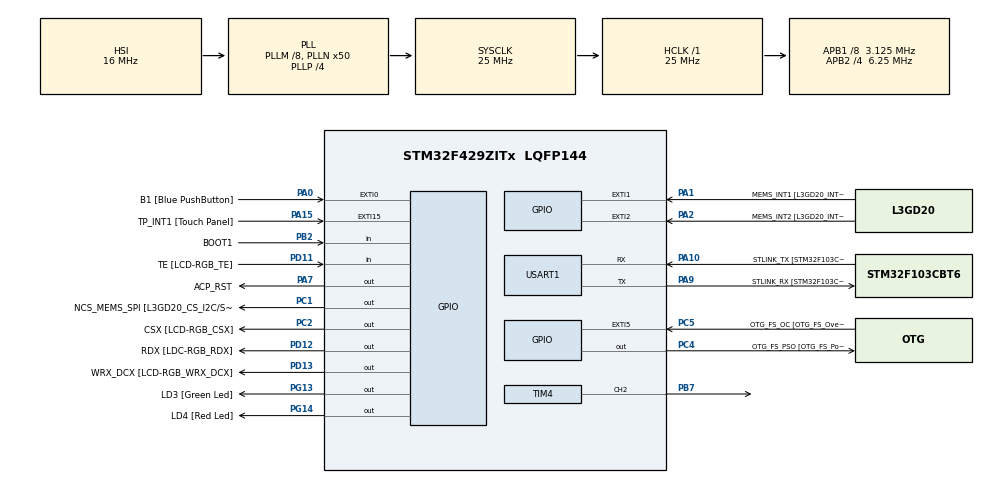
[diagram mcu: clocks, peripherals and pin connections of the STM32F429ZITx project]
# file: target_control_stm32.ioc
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FREERTOS.Queues01=targetCommandQueue,4,TargetState,0,Dynamic,NULL,NULL
FREERTOS.Tasks01=CommRxTask,24,128,StartCommRxTask,Default,NULL,Dynamic,NULL,NULL;ControlTask,32,128,StartControlTask,Default,NULL,Dynamic,NULL,NULL
Mcu.Family=STM32F4
Mcu.Name=STM32F429ZITx
Mcu.Package=LQFP144
NVIC.PriorityGroup=NVIC_PRIORITYGROUP_4
NVIC.TIM6_DAC_IRQn=true\:15\:0\:false\:false\:true\:false\:false\:true\:true
NVIC.TimeBase=TIM6_DAC_IRQn
NVIC.TimeBaseIP=TIM6
PA0/WKUP.GPIO_Label=B1 [Blue PushButton]
PA0/WKUP.GPIO_ModeDefaultEXTI=GPIO_MODE_EVT_RISING
PA0/WKUP.GPIO_PuPd=GPIO_NOPULL
PA0/WKUP.Signal=GPXTI0
PA1.GPIO_Label=MEMS_INT1 [L3GD20_INT1]
PA1.GPIO_ModeDefaultEXTI=GPIO_MODE_EVT_RISING
PA1.GPIO_PuPd=GPIO_NOPULL
PA1.Signal=GPXTI1
PA10.GPIO_Label=STLINK_TX [STM32F103CBT6_PA2]
PA10.Mode=Asynchronous
PA10.Signal=USART1_RX
PA11.GPIO_Label=R4
PA11.GPIO_Mode=GPIO_MODE_AF_PP
PA11.GPIO_PuPd=GPIO_NOPULL
PA11.GPIO_Speed=GPIO_SPEED_FREQ_LOW
PA11.Signal=LTDC_R4
PA12.GPIO_Label=R5
PA12.GPIO_Mode=GPIO_MODE_AF_PP
PA12.GPIO_PuPd=GPIO_NOPULL
PA12.GPIO_Speed=GPIO_SPEED_FREQ_LOW
PA12.Signal=LTDC_R5
PA13.GPIO_Label=SWDIO
PA13.Signal=SYS_JTMS-SWDIO
PA14.GPIO_Label=SWCLK
PA14.Signal=SYS_JTCK-SWCLK
PA15.GPIO_Label=TP_INT1 [Touch Panel]
PA15.GPIO_ModeDefaultEXTI=GPIO_MODE_EVT_RISING
PA15.GPIO_PuPd=GPIO_NOPULL
PA15.Signal=GPXTI15
PA2.GPIO_Label=MEMS_INT2 [L3GD20_INT2]
PA2.GPIO_ModeDefaultEXTI=GPIO_MODE_EVT_RISING
PA2.GPIO_PuPd=GPIO_NOPULL
PA2.Signal=GPXTI2
PA3.GPIO_Label=B5
PA3.GPIO_Mode=GPIO_MODE_AF_PP
PA3.GPIO_PuPd=GPIO_NOPULL
PA3.GPIO_Speed=GPIO_SPEED_FREQ_LOW
PA3.Signal=LTDC_B5
PA4.GPIO_Label=VSYNC
PA4.GPIO_Mode=GPIO_MODE_AF_PP
PA4.GPIO_PuPd=GPIO_NOPULL
PA4.GPIO_Speed=GPIO_SPEED_FREQ_LOW
PA4.Signal=LTDC_VSYNC
PA6.GPIO_Label=G2
PA6.GPIO_Mode=GPIO_MODE_AF_PP
PA6.GPIO_PuPd=GPIO_NOPULL
PA6.GPIO_Speed=GPIO_SPEED_FREQ_LOW
PA6.Signal=LTDC_G2
PA7.GPIO_Label=ACP_RST
PA7.GPIO_Mode=GPIO_MODE_OUTPUT_PP
PA7.GPIO_PuPd=GPIO_NOPULL
PA7.GPIO_Speed=GPIO_SPEED_FREQ_LOW
PA7.Signal=GPIO_Output
PA8.GPIO_Label=I2C3_SCL [ACP/RF_SCL]
PA8.GPIO_Mode=GPIO_MODE_AF_OD
PA8.GPIO_PuPd=GPIO_NOPULL
PA8.GPIO_Speed=GPIO_SPEED_FREQ_LOW
PA8.Signal=I2C3_SCL
PA9.GPIO_Label=STLINK_RX [STM32F103CBT6_PA3]
PA9.Mode=Asynchronous
PA9.Signal=USART1_TX
PB0.GPIO_Label=R3
PB0.GPIO_Mode=GPIO_MODE_AF_PP
PB0.GPIO_PuPd=GPIO_NOPULL
PB0.GPIO_Speed=GPIO_SPEED_FREQ_LOW
PB0.Signal=LTDC_R3
PB1.GPIO_Label=R6
PB1.GPIO_Mode=GPIO_MODE_AF_PP
PB1.GPIO_PuPd=GPIO_NOPULL
PB1.GPIO_Speed=GPIO_SPEED_FREQ_LOW
PB1.Signal=LTDC_R6
PB10.GPIO_Label=G4
PB10.GPIO_Mode=GPIO_MODE_AF_PP
PB10.GPIO_PuPd=GPIO_NOPULL
PB10.GPIO_Speed=GPIO_SPEED_FREQ_LOW
PB10.Signal=LTDC_G4
PB11.GPIO_Label=G5
PB11.GPIO_Mode=GPIO_MODE_AF_PP
PB11.GPIO_PuPd=GPIO_NOPULL
PB11.GPIO_Speed=GPIO_SPEED_FREQ_LOW
PB11.Signal=LTDC_G5
PB12.GPIO_Label=OTG_HS_ID
PB12.GPIO_Mode=GPIO_MODE_AF_PP
PB12.GPIO_PuPd=GPIO_NOPULL
PB12.GPIO_Speed=GPIO_SPEED_FREQ_LOW
PB12.Signal=USB_OTG_HS_ID
PB13.GPIO_Label=VBUS_HS
PB13.GPIO_Mode=GPIO_MODE_INPUT
PB13.GPIO_PuPd=GPIO_NOPULL
PB13.Signal=USB_OTG_HS_VBUS
PB14.GPIO_Label=OTG_HS_DM
PB14.GPIO_Mode=GPIO_MODE_AF_PP
PB14.GPIO_PuPd=GPIO_NOPULL
PB14.GPIO_Speed=GPIO_SPEED_FREQ_LOW
PB14.Signal=USB_OTG_HS_DM
PB15.GPIO_Label=OTG_HS_DP
PB15.GPIO_Mode=GPIO_MODE_AF_PP
PB15.GPIO_PuPd=GPIO_NOPULL
PB15.GPIO_Speed=GPIO_SPEED_FREQ_LOW
PB15.Signal=USB_OTG_HS_DP
PB2/BOOT1.GPIO_Label=BOOT1
PB2/BOOT1.GPIO_Mode=GPIO_MODE_INPUT
PB2/BOOT1.GPIO_PuPd=GPIO_NOPULL
PB2/BOOT1.Signal=GPIO_Input
PB5.GPIO_Label=SDCKE1
PB5.GPIO_Mode=GPIO_MODE_AF_PP
PB5.GPIO_PuPd=GPIO_NOPULL
PB5.GPIO_Speed=GPIO_SPEED_FREQ_VERY_HIGH
PB5.Signal=FMC_SDCKE1
PB6.GPIO_Label=SDNE1 [SDRAM_CS]
PB6.GPIO_Mode=GPIO_MODE_AF_PP
PB6.GPIO_PuPd=GPIO_NOPULL
PB6.GPIO_Speed=GPIO_SPEED_FREQ_VERY_HIGH
PB6.Signal=FMC_SDNE1
PB7.Signal=S_TIM4_CH2
PB8.GPIO_Label=B6
PB8.GPIO_Mode=GPIO_MODE_AF_PP
PB8.GPIO_PuPd=GPIO_NOPULL
PB8.GPIO_Speed=GPIO_SPEED_FREQ_LOW
PB8.Signal=LTDC_B6
PB9.GPIO_Label=B7
PB9.GPIO_Mode=GPIO_MODE_AF_PP
PB9.GPIO_PuPd=GPIO_NOPULL
PB9.GPIO_Speed=GPIO_SPEED_FREQ_LOW
PB9.Signal=LTDC_B7
PC0.GPIO_Label=SDNWE
PC0.GPIO_Mode=GPIO_MODE_AF_PP
PC0.GPIO_PuPd=GPIO_NOPULL
PC0.GPIO_Speed=GPIO_SPEED_FREQ_VERY_HIGH
PC0.Signal=FMC_SDNWE
PC1.GPIO_Label=NCS_MEMS_SPI [L3GD20_CS_I2C/SPI]
PC1.GPIO_Mode=GPIO_MODE_OUTPUT_PP
PC1.GPIO_PuPd=GPIO_NOPULL
PC1.GPIO_Speed=GPIO_SPEED_FREQ_LOW
PC1.Signal=GPIO_Output
PC10.GPIO_Label=R2
PC10.GPIO_Mode=GPIO_MODE_AF_PP
PC10.GPIO_PuPd=GPIO_NOPULL
PC10.GPIO_Speed=GPIO_SPEED_FREQ_LOW
PC10.Signal=LTDC_R2
PC14/OSC32_IN.GPIO_Label=PC14-OSC32_IN
PC14/OSC32_IN.Signal=RCC_OSC32_IN
PC15/OSC32_OUT.GPIO_Label=PC15-OSC32_OUT
PC15/OSC32_OUT.Signal=RCC_OSC32_OUT
PC2.GPIO_Label=CSX [LCD-RGB_CSX]
PC2.GPIO_Mode=GPIO_MODE_OUTPUT_PP
PC2.GPIO_PuPd=GPIO_NOPULL
PC2.GPIO_Speed=GPIO_SPEED_FREQ_LOW
PC2.Signal=GPIO_Output
PC4.GPIO_Label=OTG_FS_PSO [OTG_FS_PowerSwitchOn]
PC4.GPIO_Mode=GPIO_MODE_OUTPUT_PP
PC4.GPIO_PuPd=GPIO_NOPULL
PC4.GPIO_Speed=GPIO_SPEED_FREQ_LOW
PC4.Signal=GPIO_Output
PC5.GPIO_Label=OTG_FS_OC [OTG_FS_OverCurrent]
PC5.GPIO_ModeDefaultEXTI=GPIO_MODE_EVT_RISING
PC5.Signal=GPXTI5
PC6.GPIO_Label=HSYNC
PC6.GPIO_Mode=GPIO_MODE_AF_PP
PC6.GPIO_PuPd=GPIO_NOPULL
PC6.GPIO_Speed=GPIO_SPEED_FREQ_LOW
PC6.Signal=LTDC_HSYNC
PC7.GPIO_Label=G6
PC7.GPIO_Mode=GPIO_MODE_AF_PP
PC7.GPIO_PuPd=GPIO_NOPULL
PC7.GPIO_Speed=GPIO_SPEED_FREQ_LOW
PC7.Signal=LTDC_G6
PC9.GPIO_Label=I2C3_SDA [ACP/RF_SDA]
PC9.GPIO_Mode=GPIO_MODE_AF_OD
PC9.GPIO_PuPd=GPIO_NOPULL
PC9.GPIO_Speed=GPIO_SPEED_FREQ_LOW
PC9.Signal=I2C3_SDA
PD0.GPIO_Label=D2
PD0.GPIO_Mode=GPIO_MODE_AF_PP
PD0.GPIO_PuPd=GPIO_NOPULL
PD0.GPIO_Speed=GPIO_SPEED_FREQ_VERY_HIGH
PD0.Signal=FMC_D2_DA2
PD1.GPIO_Label=D3
PD1.GPIO_Mode=GPIO_MODE_AF_PP
PD1.GPIO_PuPd=GPIO_NOPULL
PD1.GPIO_Speed=GPIO_SPEED_FREQ_VERY_HIGH
PD1.Signal=FMC_D3_DA3
PD10.GPIO_Label=D15
PD10.GPIO_Mode=GPIO_MODE_AF_PP
PD10.GPIO_PuPd=GPIO_NOPULL
PD10.GPIO_Speed=GPIO_SPEED_FREQ_VERY_HIGH
PD10.Signal=FMC_D15_DA15
PD11.GPIO_Label=TE [LCD-RGB_TE]
PD11.GPIO_Mode=GPIO_MODE_INPUT
PD11.GPIO_PuPd=GPIO_NOPULL
PD11.Signal=GPIO_Input
PD12.GPIO_Label=RDX [LDC-RGB_RDX]
PD12.GPIO_Mode=GPIO_MODE_OUTPUT_PP
PD12.GPIO_PuPd=GPIO_NOPULL
PD12.GPIO_Speed=GPIO_SPEED_FREQ_LOW
PD12.Signal=GPIO_Output
PD13.GPIO_Label=WRX_DCX [LCD-RGB_WRX_DCX]
PD13.GPIO_Mode=GPIO_MODE_OUTPUT_PP
PD13.GPIO_PuPd=GPIO_NOPULL
PD13.GPIO_Speed=GPIO_SPEED_FREQ_LOW
PD13.Signal=GPIO_Output
PD14.GPIO_Label=D0
PD14.GPIO_Mode=GPIO_MODE_AF_PP
PD14.GPIO_PuPd=GPIO_NOPULL
PD14.GPIO_Speed=GPIO_SPEED_FREQ_VERY_HIGH
PD14.Signal=FMC_D0_DA0
PD15.GPIO_Label=D1
PD15.GPIO_Mode=GPIO_MODE_AF_PP
PD15.GPIO_PuPd=GPIO_NOPULL
PD15.GPIO_Speed=GPIO_SPEED_FREQ_VERY_HIGH
PD15.Signal=FMC_D1_DA1
PD3.GPIO_Label=G7
PD3.GPIO_Mode=GPIO_MODE_AF_PP
PD3.GPIO_PuPd=GPIO_NOPULL
PD3.GPIO_Speed=GPIO_SPEED_FREQ_LOW
PD3.Signal=LTDC_G7
PD6.GPIO_Label=B2
PD6.GPIO_Mode=GPIO_MODE_AF_PP
PD6.GPIO_PuPd=GPIO_NOPULL
PD6.GPIO_Speed=GPIO_SPEED_FREQ_LOW
PD6.Signal=LTDC_B2
PD8.GPIO_Label=D13
PD8.GPIO_Mode=GPIO_MODE_AF_PP
PD8.GPIO_PuPd=GPIO_NOPULL
PD8.GPIO_Speed=GPIO_SPEED_FREQ_VERY_HIGH
PD8.Signal=FMC_D13_DA13
PD9.GPIO_Label=D14
PD9.GPIO_Mode=GPIO_MODE_AF_PP
PD9.GPIO_PuPd=GPIO_NOPULL
PD9.GPIO_Speed=GPIO_SPEED_FREQ_VERY_HIGH
PD9.Signal=FMC_D14_DA14
PE0.GPIO_Label=NBL0 [SDRAM_LDQM]
PE0.GPIO_Mode=GPIO_MODE_AF_PP
PE0.GPIO_PuPd=GPIO_NOPULL
PE0.GPIO_Speed=GPIO_SPEED_FREQ_VERY_HIGH
PE0.Signal=FMC_NBL0
PE1.GPIO_Label=NBL1 [SDRAM_UDQM]
PE1.GPIO_Mode=GPIO_MODE_AF_PP
PE1.GPIO_PuPd=GPIO_NOPULL
PE1.GPIO_Speed=GPIO_SPEED_FREQ_VERY_HIGH
PE1.Signal=FMC_NBL1
PE10.GPIO_Label=D7
PE10.GPIO_Mode=GPIO_MODE_AF_PP
PE10.GPIO_PuPd=GPIO_NOPULL
PE10.GPIO_Speed=GPIO_SPEED_FREQ_VERY_HIGH
PE10.Signal=FMC_D7_DA7
PE11.GPIO_Label=D8
PE11.GPIO_Mode=GPIO_MODE_AF_PP
PE11.GPIO_PuPd=GPIO_NOPULL
PE11.GPIO_Speed=GPIO_SPEED_FREQ_VERY_HIGH
PE11.Signal=FMC_D8_DA8
PE12.GPIO_Label=D9
PE12.GPIO_Mode=GPIO_MODE_AF_PP
PE12.GPIO_PuPd=GPIO_NOPULL
PE12.GPIO_Speed=GPIO_SPEED_FREQ_VERY_HIGH
PE12.Signal=FMC_D9_DA9
PE13.GPIO_Label=D10
PE13.GPIO_Mode=GPIO_MODE_AF_PP
PE13.GPIO_PuPd=GPIO_NOPULL
PE13.GPIO_Speed=GPIO_SPEED_FREQ_VERY_HIGH
PE13.Signal=FMC_D10_DA10
PE14.GPIO_Label=D11
PE14.GPIO_Mode=GPIO_MODE_AF_PP
PE14.GPIO_PuPd=GPIO_NOPULL
PE14.GPIO_Speed=GPIO_SPEED_FREQ_VERY_HIGH
PE14.Signal=FMC_D11_DA11
PE15.GPIO_Label=D12
PE15.GPIO_Mode=GPIO_MODE_AF_PP
PE15.GPIO_PuPd=GPIO_NOPULL
PE15.GPIO_Speed=GPIO_SPEED_FREQ_VERY_HIGH
PE15.Signal=FMC_D12_DA12
PE7.GPIO_Label=D4
PE7.GPIO_Mode=GPIO_MODE_AF_PP
PE7.GPIO_PuPd=GPIO_NOPULL
PE7.GPIO_Speed=GPIO_SPEED_FREQ_VERY_HIGH
PE7.Signal=FMC_D4_DA4
PE8.GPIO_Label=D5
PE8.GPIO_Mode=GPIO_MODE_AF_PP
PE8.GPIO_PuPd=GPIO_NOPULL
PE8.GPIO_Speed=GPIO_SPEED_FREQ_VERY_HIGH
PE8.Signal=FMC_D5_DA5
PE9.GPIO_Label=D6
PE9.GPIO_Mode=GPIO_MODE_AF_PP
PE9.GPIO_PuPd=GPIO_NOPULL
PE9.GPIO_Speed=GPIO_SPEED_FREQ_VERY_HIGH
PE9.Signal=FMC_D6_DA6
PF0.GPIO_Label=A0
PF0.GPIO_Mode=GPIO_MODE_AF_PP
PF0.GPIO_PuPd=GPIO_NOPULL
PF0.GPIO_Speed=GPIO_SPEED_FREQ_VERY_HIGH
PF0.Signal=FMC_A0
PF1.GPIO_Label=A1
PF1.GPIO_Mode=GPIO_MODE_AF_PP
PF1.GPIO_PuPd=GPIO_NOPULL
PF1.GPIO_Speed=GPIO_SPEED_FREQ_VERY_HIGH
PF1.Signal=FMC_A1
PF10.GPIO_Label=ENABLE [LCD-RGB_ENABLE]
PF10.GPIO_Mode=GPIO_MODE_AF_PP
PF10.GPIO_PuPd=GPIO_NOPULL
PF10.GPIO_Speed=GPIO_SPEED_FREQ_LOW
PF10.Signal=LTDC_DE
PF11.GPIO_Label=SDNRAS
PF11.GPIO_Mode=GPIO_MODE_AF_PP
PF11.GPIO_PuPd=GPIO_NOPULL
PF11.GPIO_Speed=GPIO_SPEED_FREQ_VERY_HIGH
PF11.Signal=FMC_SDNRAS
PF12.GPIO_Label=A6
PF12.GPIO_Mode=GPIO_MODE_AF_PP
PF12.GPIO_PuPd=GPIO_NOPULL
PF12.GPIO_Speed=GPIO_SPEED_FREQ_VERY_HIGH
PF12.Signal=FMC_A6
PF13.GPIO_Label=A7
PF13.GPIO_Mode=GPIO_MODE_AF_PP
PF13.GPIO_PuPd=GPIO_NOPULL
PF13.GPIO_Speed=GPIO_SPEED_FREQ_VERY_HIGH
PF13.Signal=FMC_A7
PF14.GPIO_Label=A8
PF14.GPIO_Mode=GPIO_MODE_AF_PP
PF14.GPIO_PuPd=GPIO_NOPULL
PF14.GPIO_Speed=GPIO_SPEED_FREQ_VERY_HIGH
PF14.Signal=FMC_A8
PF15.GPIO_Label=A9
PF15.GPIO_Mode=GPIO_MODE_AF_PP
PF15.GPIO_PuPd=GPIO_NOPULL
PF15.GPIO_Speed=GPIO_SPEED_FREQ_VERY_HIGH
PF15.Signal=FMC_A9
PF2.GPIO_Label=A2
PF2.GPIO_Mode=GPIO_MODE_AF_PP
PF2.GPIO_PuPd=GPIO_NOPULL
PF2.GPIO_Speed=GPIO_SPEED_FREQ_VERY_HIGH
PF2.Signal=FMC_A2
PF3.GPIO_Label=A3
PF3.GPIO_Mode=GPIO_MODE_AF_PP
PF3.GPIO_PuPd=GPIO_NOPULL
PF3.GPIO_Speed=GPIO_SPEED_FREQ_VERY_HIGH
PF3.Signal=FMC_A3
PF4.GPIO_Label=A4
PF4.GPIO_Mode=GPIO_MODE_AF_PP
PF4.GPIO_PuPd=GPIO_NOPULL
PF4.GPIO_Speed=GPIO_SPEED_FREQ_VERY_HIGH
PF4.Signal=FMC_A4
PF5.GPIO_Label=A5
PF5.GPIO_Mode=GPIO_MODE_AF_PP
PF5.GPIO_PuPd=GPIO_NOPULL
PF5.GPIO_Speed=GPIO_SPEED_FREQ_VERY_HIGH
PF5.Signal=FMC_A5
PF7.GPIO_Label=SPI5_SCK [L3GD20_SCL/SPC]
PF7.GPIO_Mode=GPIO_MODE_AF_PP
PF7.GPIO_PuPd=GPIO_NOPULL
PF7.GPIO_Speed=GPIO_SPEED_FREQ_LOW
PF7.Signal=SPI5_SCK
PF8.GPIO_Label=SPI5_MISO [L3GD20_SDO]
PF8.GPIO_Mode=GPIO_MODE_AF_PP
PF8.GPIO_PuPd=GPIO_NOPULL
PF8.GPIO_Speed=GPIO_SPEED_FREQ_LOW
PF8.Signal=SPI5_MISO
PF9.GPIO_Label=SPI5_MOSI [L3GD20_SDA/SDI/SDO]
PF9.GPIO_Mode=GPIO_MODE_AF_PP
PF9.GPIO_PuPd=GPIO_NOPULL
PF9.GPIO_Speed=GPIO_SPEED_FREQ_LOW
PF9.Signal=SPI5_MOSI
PG0.GPIO_Label=A10
PG0.GPIO_Mode=GPIO_MODE_AF_PP
PG0.GPIO_PuPd=GPIO_NOPULL
PG0.GPIO_Speed=GPIO_SPEED_FREQ_VERY_HIGH
PG0.Signal=FMC_A10
PG1.GPIO_Label=A11
PG1.GPIO_Mode=GPIO_MODE_AF_PP
PG1.GPIO_PuPd=GPIO_NOPULL
PG1.GPIO_Speed=GPIO_SPEED_FREQ_VERY_HIGH
PG1.Signal=FMC_A11
PG10.GPIO_Label=G3
PG10.GPIO_Mode=GPIO_MODE_AF_PP
PG10.GPIO_PuPd=GPIO_NOPULL
PG10.GPIO_Speed=GPIO_SPEED_FREQ_LOW
PG10.Signal=LTDC_G3
PG11.GPIO_Label=B3
PG11.GPIO_Mode=GPIO_MODE_AF_PP
PG11.GPIO_PuPd=GPIO_NOPULL
PG11.GPIO_Speed=GPIO_SPEED_FREQ_LOW
PG11.Signal=LTDC_B3
PG12.GPIO_Label=B4
PG12.GPIO_Mode=GPIO_MODE_AF_PP
PG12.GPIO_PuPd=GPIO_NOPULL
PG12.GPIO_Speed=GPIO_SPEED_FREQ_LOW
PG12.Signal=LTDC_B4
PG13.GPIO_Label=LD3 [Green Led]
PG13.GPIO_Mode=GPIO_MODE_OUTPUT_PP
PG13.GPIO_PuPd=GPIO_NOPULL
PG13.GPIO_Speed=GPIO_SPEED_FREQ_LOW
PG13.Signal=GPIO_Output
PG14.GPIO_Label=LD4 [Red Led]
PG14.GPIO_Mode=GPIO_MODE_OUTPUT_PP
PG14.GPIO_PuPd=GPIO_NOPULL
PG14.GPIO_Speed=GPIO_SPEED_FREQ_LOW
PG14.Signal=GPIO_Output
PG15.GPIO_Label=SDNCAS
PG15.GPIO_Mode=GPIO_MODE_AF_PP
PG15.GPIO_PuPd=GPIO_NOPULL
PG15.GPIO_Speed=GPIO_SPEED_FREQ_VERY_HIGH
PG15.Signal=FMC_SDNCAS
PG4.GPIO_Label=BA0
PG4.GPIO_Mode=GPIO_MODE_AF_PP
PG4.GPIO_PuPd=GPIO_NOPULL
PG4.GPIO_Speed=GPIO_SPEED_FREQ_VERY_HIGH
PG4.Signal=FMC_A14_BA0
PG5.GPIO_Label=BA1
PG5.GPIO_Mode=GPIO_MODE_AF_PP
PG5.GPIO_PuPd=GPIO_NOPULL
PG5.GPIO_Speed=GPIO_SPEED_FREQ_VERY_HIGH
PG5.Signal=FMC_A15_BA1
PG6.GPIO_Label=R7
PG6.GPIO_Mode=GPIO_MODE_AF_PP
PG6.GPIO_PuPd=GPIO_NOPULL
PG6.GPIO_Speed=GPIO_SPEED_FREQ_LOW
PG6.Signal=LTDC_R7
PG7.GPIO_Label=DOTCLK [LCT-RGB_DOTCLK]
PG7.GPIO_Mode=GPIO_MODE_AF_PP
PG7.GPIO_PuPd=GPIO_NOPULL
PG7.GPIO_Speed=GPIO_SPEED_FREQ_LOW
PG7.Signal=LTDC_CLK
PG8.GPIO_Label=SDCLK
PG8.GPIO_Mode=GPIO_MODE_AF_PP
PG8.GPIO_PuPd=GPIO_NOPULL
PG8.GPIO_Speed=GPIO_SPEED_FREQ_VERY_HIGH
PG8.Signal=FMC_SDCLK
PH0/OSC_IN.GPIO_Label=PH0-OSC_IN
PH0/OSC_IN.Signal=RCC_OSC_IN
PH1/OSC_OUT.GPIO_Label=PH1-OSC_OUT
PH1/OSC_OUT.Signal=RCC_OSC_OUT
ProjectManager.HeapSize=0x200
ProjectManager.StackSize=0x400
ProjectManager.TargetToolchain=STM32CubeIDE
RCC.48MHZClocksFreq_Value=14285714.285714285
RCC.AHBFreq_Value=25000000
RCC.APB1CLKDivider=RCC_HCLK_DIV8
RCC.APB1Freq_Value=3125000
RCC.APB1TimFreq_Value=6250000
RCC.APB2CLKDivider=RCC_HCLK_DIV4
RCC.APB2Freq_Value=6250000
RCC.APB2TimFreq_Value=12500000
RCC.CortexFreq_Value=25000000
RCC.HCLKFreq_Value=25000000
RCC.HSE_VALUE=8000000
RCC.HSI_VALUE=16000000
RCC.LSE_VALUE=32768
RCC.PLLM=8
RCC.PLLN=50
RCC.PLLP=RCC_PLLP_DIV4
RCC.PLLQ=7
RCC.SYSCLKFreq_VALUE=25000000
RCC.SYSCLKSource=RCC_SYSCLKSOURCE_PLLCLK
RCC.VCOOutputFreq_Value=100000000
SH.FMC_A0.0=FMC_A0
SH.FMC_A1.0=FMC_A1
SH.FMC_A10.0=FMC_A10
SH.FMC_A11.0=FMC_A11
SH.FMC_A14_BA0.0=FMC_BA0
SH.FMC_A15_BA1.0=FMC_BA1
SH.FMC_A2.0=FMC_A2
SH.FMC_A3.0=FMC_A3
SH.FMC_A4.0=FMC_A4
SH.FMC_A5.0=FMC_A5
SH.FMC_A6.0=FMC_A6
SH.FMC_A7.0=FMC_A7
SH.FMC_A8.0=FMC_A8
SH.FMC_A9.0=FMC_A9
SH.FMC_D0_DA0.0=FMC_D0
SH.FMC_D10_DA10.0=FMC_D10
SH.FMC_D11_DA11.0=FMC_D11
SH.FMC_D12_DA12.0=FMC_D12
SH.FMC_D13_DA13.0=FMC_D13
SH.FMC_D14_DA14.0=FMC_D14
SH.FMC_D15_DA15.0=FMC_D15
SH.FMC_D1_DA1.0=FMC_D1
SH.FMC_D2_DA2.0=FMC_D2
SH.FMC_D3_DA3.0=FMC_D3
SH.FMC_D4_DA4.0=FMC_D4
SH.FMC_D5_DA5.0=FMC_D5
SH.FMC_D6_DA6.0=FMC_D6
SH.FMC_D7_DA7.0=FMC_D7
SH.FMC_D8_DA8.0=FMC_D8
SH.FMC_D9_DA9.0=FMC_D9
SH.FMC_NBL0.0=FMC_NBL0
SH.FMC_NBL1.0=FMC_NBL1
SH.FMC_SDCLK.0=FMC_SDCLK
SH.FMC_SDNCAS.0=FMC_SDNCAS
SH.FMC_SDNRAS.0=FMC_SDNRAS
SH.FMC_SDNWE.0=FMC_SDNWE
SH.S_TIM4_CH2.0=TIM4_CH2,PWM Generation2 CH2
TIM4.AutoReloadPreload=TIM_AUTORELOAD_PRELOAD_DISABLE
TIM4.Channel-PWM\ Generation2\ CH2=TIM_CHANNEL_2
TIM4.Period=24999
TIM4.Prescaler=4
TIM4.Pulse-PWM\ Generation2\ CH2=1875
USART1.VirtualMode=VM_ASYNC
VP_FREERTOS_VS_CMSIS_V2.Mode=CMSIS_V2
VP_SYS_VS_tim6.Mode=TIM6
VP_TIM4_VS_ClockSourceINT.Mode=Internal
board=STM32F429I-DISC1

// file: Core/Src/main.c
/* USER CODE BEGIN Header */
/**
  ******************************************************************************
  * @file           : main.c
  * @brief          : Main program body
  ******************************************************************************
  * @attention
  *
  * Copyright (c) 2026 STMicroelectronics.
  * All rights reserved.
  *
  * This software is licensed under terms that can be found in the LICENSE file
  * in the root directory of this software component.
  * If no LICENSE file comes with this software, it is provided AS-IS.
  *
  ******************************************************************************
  */
/* USER CODE END Header */
#include "main.h"
#include "cmsis_os.h"

/* USER CODE BEGIN Includes */
#include "protocol/target_command_codec.h"
#include "protocol/uart_frame.h"
#include "protocol/uart_frame_validator.h"
#include "control/target_state.h"
#include "control/steering_controller.h"
#include "actuator/sg90_mapper.h"
#include "platform/stm32_pwm_backend.h"
#include "protocol/uart_rx_stream.h"
#include "diagnostics/runtime_probe.h"
#include "diagnostics/runtime_schedule.h"
/* USER CODE END Includes */

/* USER CODE BEGIN PD */
#define CONTROL_TASK_PERIOD_MS   LATC_CONTROL_PERIOD_MS
#ifndef LATC_CONTROL_TASK_PRIORITY
#define LATC_CONTROL_TASK_PRIORITY osPriorityAboveNormal
#endif
#define TARGET_TIMEOUT_MS       400U
/*
 * TIM4 clock after prescaler:
 * 6.25 MHz / (4 + 1) = 1.25 MHz
 */
#define TIM4_COUNTER_FREQUENCY_HZ   1250000U
#define TIM4_MAX_PERIOD_COUNTS      65536U

/*
 * PROVISIONAL SG90 BRING-UP VALUES.
 *
 * These are NOT calibrated runtime requirements.
 */
#define SG90_PWM_PERIOD_US                  20000U
#define SG90_NEGATIVE_LIMIT_PULSE_US        1200U
#define SG90_CENTER_PULSE_US                1500U
#define SG90_POSITIVE_LIMIT_PULSE_US        1800U
/* USER CODE END PD */

TIM_HandleTypeDef htim4;

UART_HandleTypeDef huart1;

/* Definitions for CommRxTask */
osThreadId_t CommRxTaskHandle;
const osThreadAttr_t CommRxTask_attributes = {
  .name = "CommRxTask",
  .stack_size = 128 * 4,
  .priority = (osPriority_t) osPriorityNormal,
};
/* Definitions for ControlTask */
osThreadId_t ControlTaskHandle;
const osThreadAttr_t ControlTask_attributes = {
  .name = "ControlTask",
  .stack_size = 128 * 4,
  .priority = (osPriority_t) LATC_CONTROL_TASK_PRIORITY,
};
/* Definitions for targetCommandQueue */
osMessageQueueId_t targetCommandQueueHandle;
const osMessageQueueAttr_t targetCommandQueue_attributes = {
  .name = "targetCommandQueue"
};
/* USER CODE BEGIN PV */

uint8_t rx_buffer[15] = {0};
volatile uint8_t rx_complete =0;

volatile UartFrameValidationResult frame_validation_result =
    UART_FRAME_ERROR_NULL;
TargetCommand received_command = {0};
volatile uint8_t target_command_ready = 0U;//0-> no valid target command, 1-> target command deserialize success

volatile uint8_t queue_send_success = 0U;
volatile uint8_t queue_receive_success = 0U;

TargetState queue_received_target = {0};

volatile uint8_t controller_init_success = 0U;
volatile uint8_t controller_target_update_success = 0U;

volatile uint32_t controller_now_ms = 0U;
volatile uint32_t controller_step_count = 0U;

volatile float desired_steering_deg = 0.0F;

//for time out debugging
volatile uint32_t last_target_update_ms_debug = 0U;

volatile uint8_t hold_before_timeout_seen = 0U;
volatile uint8_t timeout_neutral_seen = 0U;

//for PWM Debugging
volatile uint8_t pwm_backend_init_success = 0U;
volatile uint8_t pwm_backend_start_success = 0U;
volatile uint8_t sg90_map_success = 0U;
volatile uint8_t pwm_apply_success = 0U;

volatile uint32_t pwm_period_us_debug = 0U;
volatile uint32_t pwm_pulse_width_us_debug = 0U;
volatile uint32_t pwm_ccr2_debug = 0U;

volatile RuntimeProbe runtime_probe = {0};
volatile uint32_t received_frames = 0U, dropped_targets = 0U;
volatile uint32_t rejected_windows = 0U, accepted_targets = 0U;
volatile uint32_t invalid_targets = 0U;
volatile uint32_t uart_rx_gap_resets = 0U;
volatile uint32_t probe_clock_hz = 0U, probe_tick_hz = 0U;
volatile uint32_t probe_period_us = CONTROL_TASK_PERIOD_MS * 1000U;
volatile uint32_t probe_schedule_version = 2U;
volatile uint32_t probe_control_priority = LATC_CONTROL_TASK_PRIORITY;
volatile uint32_t probe_rx_priority = osPriorityNormal;
volatile uint32_t probe_busy_budget_us = LATC_CONTROL_BUSY_BUDGET_US;
volatile uint32_t probe_release_budget_us = 1000U;
/* USER CODE END PV */

void SystemClock_Config(void);
static void MX_GPIO_Init(void);
static void MX_USART1_UART_Init(void);
static void MX_TIM4_Init(void);
void StartCommRxTask(void *argument);
void StartControlTask(void *argument);

/* USER CODE BEGIN 0 */
static uint32_t platform_now_ms(void)
{
    return (uint32_t)(((uint64_t)osKernelGetTickCount() * 1000U) /
                      osKernelGetTickFreq());
}
static uint32_t probe_elapsed_us(uint32_t counts)
{
    return (uint32_t)(((uint64_t)counts * 1000000U) / SystemCoreClock);
}

/* USER CODE END 0 */

int main(void)
{

  /* MCU Configuration--------------------------------------------------------*/

  /* Reset of all peripherals, Initializes the Flash interface and the Systick. */
  HAL_Init();

  /* Configure the system clock */
  SystemClock_Config();

  /* Initialize all configured peripherals */
  MX_GPIO_Init();
  MX_USART1_UART_Init();
  MX_TIM4_Init();

  /* Init scheduler */
  osKernelInitialize();

  /* Create the queue(s) */
  /* creation of targetCommandQueue */
  targetCommandQueueHandle = osMessageQueueNew (4, sizeof(TargetState), &targetCommandQueue_attributes);

  /* USER CODE BEGIN RTOS_QUEUES */
  if (targetCommandQueueHandle == NULL) Error_Handler();
  /* add queues, ... */
  /* USER CODE END RTOS_QUEUES */

  /* Create the thread(s) */
  /* creation of CommRxTask */
  CommRxTaskHandle = osThreadNew(StartCommRxTask, NULL, &CommRxTask_attributes);

  /* creation of ControlTask */
  ControlTaskHandle = osThreadNew(StartControlTask, NULL, &ControlTask_attributes);

  /* USER CODE BEGIN RTOS_THREADS */
  if (CommRxTaskHandle == NULL || ControlTaskHandle == NULL) Error_Handler();
  /* add threads, ... */
  /* USER CODE END RTOS_THREADS */

  /* Start scheduler */
  osKernelStart();

  /* We should never get here as control is now taken by the scheduler */

  /* Infinite loop */
  while (1)
  {

  }
}

void SystemClock_Config(void)
{
  RCC_OscInitTypeDef RCC_OscInitStruct = {0};
  RCC_ClkInitTypeDef RCC_ClkInitStruct = {0};

  /** Configure the main internal regulator output voltage
  */
  __HAL_RCC_PWR_CLK_ENABLE();
  __HAL_PWR_VOLTAGESCALING_CONFIG(PWR_REGULATOR_VOLTAGE_SCALE3);

  /** Initializes the RCC Oscillators according to the specified parameters
  * in the RCC_OscInitTypeDef structure.
  */
  RCC_OscInitStruct.OscillatorType = RCC_OSCILLATORTYPE_HSI;
  RCC_OscInitStruct.HSIState = RCC_HSI_ON;
  RCC_OscInitStruct.HSICalibrationValue = RCC_HSICALIBRATION_DEFAULT;
  RCC_OscInitStruct.PLL.PLLState = RCC_PLL_ON;
  RCC_OscInitStruct.PLL.PLLSource = RCC_PLLSOURCE_HSI;
  RCC_OscInitStruct.PLL.PLLM = 8;
  RCC_OscInitStruct.PLL.PLLN = 50;
  RCC_OscInitStruct.PLL.PLLP = RCC_PLLP_DIV4;
  RCC_OscInitStruct.PLL.PLLQ = 7;
  if (HAL_RCC_OscConfig(&RCC_OscInitStruct) != HAL_OK)
  {
    Error_Handler();
  }

  /** Initializes the CPU, AHB and APB buses clocks
  */
  RCC_ClkInitStruct.ClockType = RCC_CLOCKTYPE_HCLK|RCC_CLOCKTYPE_SYSCLK
                              |RCC_CLOCKTYPE_PCLK1|RCC_CLOCKTYPE_PCLK2;
  RCC_ClkInitStruct.SYSCLKSource = RCC_SYSCLKSOURCE_PLLCLK;
  RCC_ClkInitStruct.AHBCLKDivider = RCC_SYSCLK_DIV1;
  RCC_ClkInitStruct.APB1CLKDivider = RCC_HCLK_DIV8;
  RCC_ClkInitStruct.APB2CLKDivider = RCC_HCLK_DIV4;

  if (HAL_RCC_ClockConfig(&RCC_ClkInitStruct, FLASH_LATENCY_0) != HAL_OK)
  {
    Error_Handler();
  }
}

static void MX_TIM4_Init(void)
{

  TIM_ClockConfigTypeDef sClockSourceConfig = {0};
  TIM_MasterConfigTypeDef sMasterConfig = {0};
  TIM_OC_InitTypeDef sConfigOC = {0};

  htim4.Instance = TIM4;
  htim4.Init.Prescaler = 4;
  htim4.Init.CounterMode = TIM_COUNTERMODE_UP;
  htim4.Init.Period = 24999;
  htim4.Init.ClockDivision = TIM_CLOCKDIVISION_DIV1;
  htim4.Init.AutoReloadPreload = TIM_AUTORELOAD_PRELOAD_DISABLE;
  if (HAL_TIM_Base_Init(&htim4) != HAL_OK)
  {
    Error_Handler();
  }
  sClockSourceConfig.ClockSource = TIM_CLOCKSOURCE_INTERNAL;
  if (HAL_TIM_ConfigClockSource(&htim4, &sClockSourceConfig) != HAL_OK)
  {
    Error_Handler();
  }
  if (HAL_TIM_PWM_Init(&htim4) != HAL_OK)
  {
    Error_Handler();
  }
  sMasterConfig.MasterOutputTrigger = TIM_TRGO_RESET;
  sMasterConfig.MasterSlaveMode = TIM_MASTERSLAVEMODE_DISABLE;
  if (HAL_TIMEx_MasterConfigSynchronization(&htim4, &sMasterConfig) != HAL_OK)
  {
    Error_Handler();
  }
  sConfigOC.OCMode = TIM_OCMODE_PWM1;
  sConfigOC.Pulse = 1875;
  sConfigOC.OCPolarity = TIM_OCPOLARITY_HIGH;
  sConfigOC.OCFastMode = TIM_OCFAST_DISABLE;
  if (HAL_TIM_PWM_ConfigChannel(&htim4, &sConfigOC, TIM_CHANNEL_2) != HAL_OK)
  {
    Error_Handler();
  }
  HAL_TIM_MspPostInit(&htim4);

}

static void MX_USART1_UART_Init(void)
{

  huart1.Instance = USART1;
  huart1.Init.BaudRate = 115200;
  huart1.Init.WordLength = UART_WORDLENGTH_8B;
  huart1.Init.StopBits = UART_STOPBITS_1;
  huart1.Init.Parity = UART_PARITY_NONE;
  huart1.Init.Mode = UART_MODE_TX_RX;
  huart1.Init.HwFlowCtl = UART_HWCONTROL_NONE;
  huart1.Init.OverSampling = UART_OVERSAMPLING_16;
  if (HAL_UART_Init(&huart1) != HAL_OK)
  {
    Error_Handler();
  }

}

static void MX_GPIO_Init(void)
{
  GPIO_InitTypeDef GPIO_InitStruct = {0};

  /* GPIO Ports Clock Enable */
  __HAL_RCC_GPIOC_CLK_ENABLE();
  __HAL_RCC_GPIOF_CLK_ENABLE();
  __HAL_RCC_GPIOH_CLK_ENABLE();
  __HAL_RCC_GPIOA_CLK_ENABLE();
  __HAL_RCC_GPIOB_CLK_ENABLE();
  __HAL_RCC_GPIOG_CLK_ENABLE();
  __HAL_RCC_GPIOE_CLK_ENABLE();
  __HAL_RCC_GPIOD_CLK_ENABLE();

  /*Configure GPIO pin Output Level */
  HAL_GPIO_WritePin(GPIOC, NCS_MEMS_SPI_Pin|CSX_Pin|OTG_FS_PSO_Pin, GPIO_PIN_RESET);

  /*Configure GPIO pin Output Level */
  HAL_GPIO_WritePin(ACP_RST_GPIO_Port, ACP_RST_Pin, GPIO_PIN_RESET);

  /*Configure GPIO pin Output Level */
  HAL_GPIO_WritePin(GPIOD, RDX_Pin|WRX_DCX_Pin, GPIO_PIN_RESET);

  /*Configure GPIO pin Output Level */
  HAL_GPIO_WritePin(GPIOG, LD3_Pin|LD4_Pin, GPIO_PIN_RESET);

  /*Configure GPIO pins : A0_Pin A1_Pin A2_Pin A3_Pin
                           A4_Pin A5_Pin SDNRAS_Pin A6_Pin
                           A7_Pin A8_Pin A9_Pin */
  GPIO_InitStruct.Pin = A0_Pin|A1_Pin|A2_Pin|A3_Pin
                          |A4_Pin|A5_Pin|SDNRAS_Pin|A6_Pin
                          |A7_Pin|A8_Pin|A9_Pin;
  GPIO_InitStruct.Mode = GPIO_MODE_AF_PP;
  GPIO_InitStruct.Pull = GPIO_NOPULL;
  GPIO_InitStruct.Speed = GPIO_SPEED_FREQ_VERY_HIGH;
  GPIO_InitStruct.Alternate = GPIO_AF12_FMC;
  HAL_GPIO_Init(GPIOF, &GPIO_InitStruct);

  /*Configure GPIO pins : SPI5_SCK_Pin SPI5_MISO_Pin SPI5_MOSI_Pin */
  GPIO_InitStruct.Pin = SPI5_SCK_Pin|SPI5_MISO_Pin|SPI5_MOSI_Pin;
  GPIO_InitStruct.Mode = GPIO_MODE_AF_PP;
  GPIO_InitStruct.Pull = GPIO_NOPULL;
  GPIO_InitStruct.Speed = GPIO_SPEED_FREQ_LOW;
  GPIO_InitStruct.Alternate = GPIO_AF5_SPI5;
  HAL_GPIO_Init(GPIOF, &GPIO_InitStruct);

  /*Configure GPIO pin : ENABLE_Pin */
  GPIO_InitStruct.Pin = ENABLE_Pin;
  GPIO_InitStruct.Mode = GPIO_MODE_AF_PP;
  GPIO_InitStruct.Pull = GPIO_NOPULL;
  GPIO_InitStruct.Speed = GPIO_SPEED_FREQ_LOW;
  GPIO_InitStruct.Alternate = GPIO_AF14_LTDC;
  HAL_GPIO_Init(ENABLE_GPIO_Port, &GPIO_InitStruct);

  /*Configure GPIO pin : SDNWE_Pin */
  GPIO_InitStruct.Pin = SDNWE_Pin;
  GPIO_InitStruct.Mode = GPIO_MODE_AF_PP;
  GPIO_InitStruct.Pull = GPIO_NOPULL;
  GPIO_InitStruct.Speed = GPIO_SPEED_FREQ_VERY_HIGH;
  GPIO_InitStruct.Alternate = GPIO_AF12_FMC;
  HAL_GPIO_Init(SDNWE_GPIO_Port, &GPIO_InitStruct);

  /*Configure GPIO pins : NCS_MEMS_SPI_Pin CSX_Pin OTG_FS_PSO_Pin */
  GPIO_InitStruct.Pin = NCS_MEMS_SPI_Pin|CSX_Pin|OTG_FS_PSO_Pin;
  GPIO_InitStruct.Mode = GPIO_MODE_OUTPUT_PP;
  GPIO_InitStruct.Pull = GPIO_NOPULL;
  GPIO_InitStruct.Speed = GPIO_SPEED_FREQ_LOW;
  HAL_GPIO_Init(GPIOC, &GPIO_InitStruct);

  /*Configure GPIO pins : B1_Pin MEMS_INT1_Pin MEMS_INT2_Pin TP_INT1_Pin */
  GPIO_InitStruct.Pin = B1_Pin|MEMS_INT1_Pin|MEMS_INT2_Pin|TP_INT1_Pin;
  GPIO_InitStruct.Mode = GPIO_MODE_EVT_RISING;
  GPIO_InitStruct.Pull = GPIO_NOPULL;
  HAL_GPIO_Init(GPIOA, &GPIO_InitStruct);

  /*Configure GPIO pins : B5_Pin VSYNC_Pin G2_Pin R4_Pin
                           R5_Pin */
  GPIO_InitStruct.Pin = B5_Pin|VSYNC_Pin|G2_Pin|R4_Pin
                          |R5_Pin;
  GPIO_InitStruct.Mode = GPIO_MODE_AF_PP;
  GPIO_InitStruct.Pull = GPIO_NOPULL;
  GPIO_InitStruct.Speed = GPIO_SPEED_FREQ_LOW;
  GPIO_InitStruct.Alternate = GPIO_AF14_LTDC;
  HAL_GPIO_Init(GPIOA, &GPIO_InitStruct);

  /*Configure GPIO pin : ACP_RST_Pin */
  GPIO_InitStruct.Pin = ACP_RST_Pin;
  GPIO_InitStruct.Mode = GPIO_MODE_OUTPUT_PP;
  GPIO_InitStruct.Pull = GPIO_NOPULL;
  GPIO_InitStruct.Speed = GPIO_SPEED_FREQ_LOW;
  HAL_GPIO_Init(ACP_RST_GPIO_Port, &GPIO_InitStruct);

  /*Configure GPIO pin : OTG_FS_OC_Pin */
  GPIO_InitStruct.Pin = OTG_FS_OC_Pin;
  GPIO_InitStruct.Mode = GPIO_MODE_EVT_RISING;
  GPIO_InitStruct.Pull = GPIO_NOPULL;
  HAL_GPIO_Init(OTG_FS_OC_GPIO_Port, &GPIO_InitStruct);

  /*Configure GPIO pins : R3_Pin R6_Pin */
  GPIO_InitStruct.Pin = R3_Pin|R6_Pin;
  GPIO_InitStruct.Mode = GPIO_MODE_AF_PP;
  GPIO_InitStruct.Pull = GPIO_NOPULL;
  GPIO_InitStruct.Speed = GPIO_SPEED_FREQ_LOW;
  GPIO_InitStruct.Alternate = GPIO_AF9_LTDC;
  HAL_GPIO_Init(GPIOB, &GPIO_InitStruct);

  /*Configure GPIO pin : BOOT1_Pin */
  GPIO_InitStruct.Pin = BOOT1_Pin;
  GPIO_InitStruct.Mode = GPIO_MODE_INPUT;
  GPIO_InitStruct.Pull = GPIO_NOPULL;
  HAL_GPIO_Init(BOOT1_GPIO_Port, &GPIO_InitStruct);

  /*Configure GPIO pins : A10_Pin A11_Pin BA0_Pin BA1_Pin
                           SDCLK_Pin SDNCAS_Pin */
  GPIO_InitStruct.Pin = A10_Pin|A11_Pin|BA0_Pin|BA1_Pin
                          |SDCLK_Pin|SDNCAS_Pin;
  GPIO_InitStruct.Mode = GPIO_MODE_AF_PP;
  GPIO_InitStruct.Pull = GPIO_NOPULL;
  GPIO_InitStruct.Speed = GPIO_SPEED_FREQ_VERY_HIGH;
  GPIO_InitStruct.Alternate = GPIO_AF12_FMC;
  HAL_GPIO_Init(GPIOG, &GPIO_InitStruct);

  /*Configure GPIO pins : D4_Pin D5_Pin D6_Pin D7_Pin
                           D8_Pin D9_Pin D10_Pin D11_Pin
                           D12_Pin NBL0_Pin NBL1_Pin */
  GPIO_InitStruct.Pin = D4_Pin|D5_Pin|D6_Pin|D7_Pin
                          |D8_Pin|D9_Pin|D10_Pin|D11_Pin
                          |D12_Pin|NBL0_Pin|NBL1_Pin;
  GPIO_InitStruct.Mode = GPIO_MODE_AF_PP;
  GPIO_InitStruct.Pull = GPIO_NOPULL;
  GPIO_InitStruct.Speed = GPIO_SPEED_FREQ_VERY_HIGH;
  GPIO_InitStruct.Alternate = GPIO_AF12_FMC;
  HAL_GPIO_Init(GPIOE, &GPIO_InitStruct);

  /*Configure GPIO pins : G4_Pin G5_Pin B6_Pin B7_Pin */
  GPIO_InitStruct.Pin = G4_Pin|G5_Pin|B6_Pin|B7_Pin;
  GPIO_InitStruct.Mode = GPIO_MODE_AF_PP;
  GPIO_InitStruct.Pull = GPIO_NOPULL;
  GPIO_InitStruct.Speed = GPIO_SPEED_FREQ_LOW;
  GPIO_InitStruct.Alternate = GPIO_AF14_LTDC;
  HAL_GPIO_Init(GPIOB, &GPIO_InitStruct);

  /*Configure GPIO pins : OTG_HS_ID_Pin OTG_HS_DM_Pin OTG_HS_DP_Pin */
  GPIO_InitStruct.Pin = OTG_HS_ID_Pin|OTG_HS_DM_Pin|OTG_HS_DP_Pin;
  GPIO_InitStruct.Mode = GPIO_MODE_AF_PP;
  GPIO_InitStruct.Pull = GPIO_NOPULL;
  GPIO_InitStruct.Speed = GPIO_SPEED_FREQ_LOW;
  GPIO_InitStruct.Alternate = GPIO_AF12_OTG_HS_FS;
  HAL_GPIO_Init(GPIOB, &GPIO_InitStruct);

  /*Configure GPIO pin : VBUS_HS_Pin */
  GPIO_InitStruct.Pin = VBUS_HS_Pin;
  GPIO_InitStruct.Mode = GPIO_MODE_INPUT;
  GPIO_InitStruct.Pull = GPIO_NOPULL;
  HAL_GPIO_Init(VBUS_HS_GPIO_Port, &GPIO_InitStruct);

  /*Configure GPIO pins : D13_Pin D14_Pin D15_Pin D0_Pin
                           D1_Pin D2_Pin D3_Pin */
  GPIO_InitStruct.Pin = D13_Pin|D14_Pin|D15_Pin|D0_Pin
                          |D1_Pin|D2_Pin|D3_Pin;
  GPIO_InitStruct.Mode = GPIO_MODE_AF_PP;
  GPIO_InitStruct.Pull = GPIO_NOPULL;
  GPIO_InitStruct.Speed = GPIO_SPEED_FREQ_VERY_HIGH;
  GPIO_InitStruct.Alternate = GPIO_AF12_FMC;
  HAL_GPIO_Init(GPIOD, &GPIO_InitStruct);

  /*Configure GPIO pin : TE_Pin */
  GPIO_InitStruct.Pin = TE_Pin;
  GPIO_InitStruct.Mode = GPIO_MODE_INPUT;
  GPIO_InitStruct.Pull = GPIO_NOPULL;
  HAL_GPIO_Init(TE_GPIO_Port, &GPIO_InitStruct);

  /*Configure GPIO pins : RDX_Pin WRX_DCX_Pin */
  GPIO_InitStruct.Pin = RDX_Pin|WRX_DCX_Pin;
  GPIO_InitStruct.Mode = GPIO_MODE_OUTPUT_PP;
  GPIO_InitStruct.Pull = GPIO_NOPULL;
  GPIO_InitStruct.Speed = GPIO_SPEED_FREQ_LOW;
  HAL_GPIO_Init(GPIOD, &GPIO_InitStruct);

  /*Configure GPIO pins : R7_Pin DOTCLK_Pin B3_Pin */
  GPIO_InitStruct.Pin = R7_Pin|DOTCLK_Pin|B3_Pin;
  GPIO_InitStruct.Mode = GPIO_MODE_AF_PP;
  GPIO_InitStruct.Pull = GPIO_NOPULL;
  GPIO_InitStruct.Speed = GPIO_SPEED_FREQ_LOW;
  GPIO_InitStruct.Alternate = GPIO_AF14_LTDC;
  HAL_GPIO_Init(GPIOG, &GPIO_InitStruct);

  /*Configure GPIO pins : HSYNC_Pin G6_Pin R2_Pin */
  GPIO_InitStruct.Pin = HSYNC_Pin|G6_Pin|R2_Pin;
  GPIO_InitStruct.Mode = GPIO_MODE_AF_PP;
  GPIO_InitStruct.Pull = GPIO_NOPULL;
  GPIO_InitStruct.Speed = GPIO_SPEED_FREQ_LOW;
  GPIO_InitStruct.Alternate = GPIO_AF14_LTDC;
  HAL_GPIO_Init(GPIOC, &GPIO_InitStruct);

  /*Configure GPIO pin : I2C3_SDA_Pin */
  GPIO_InitStruct.Pin = I2C3_SDA_Pin;
  GPIO_InitStruct.Mode = GPIO_MODE_AF_OD;
  GPIO_InitStruct.Pull = GPIO_NOPULL;
  GPIO_InitStruct.Speed = GPIO_SPEED_FREQ_LOW;
  GPIO_InitStruct.Alternate = GPIO_AF4_I2C3;
  HAL_GPIO_Init(I2C3_SDA_GPIO_Port, &GPIO_InitStruct);

  /*Configure GPIO pin : I2C3_SCL_Pin */
  GPIO_InitStruct.Pin = I2C3_SCL_Pin;
  GPIO_InitStruct.Mode = GPIO_MODE_AF_OD;
  GPIO_InitStruct.Pull = GPIO_NOPULL;
  GPIO_InitStruct.Speed = GPIO_SPEED_FREQ_LOW;
  GPIO_InitStruct.Alternate = GPIO_AF4_I2C3;
  HAL_GPIO_Init(I2C3_SCL_GPIO_Port, &GPIO_InitStruct);

  /*Configure GPIO pins : G7_Pin B2_Pin */
  GPIO_InitStruct.Pin = G7_Pin|B2_Pin;
  GPIO_InitStruct.Mode = GPIO_MODE_AF_PP;
  GPIO_InitStruct.Pull = GPIO_NOPULL;
  GPIO_InitStruct.Speed = GPIO_SPEED_FREQ_LOW;
  GPIO_InitStruct.Alternate = GPIO_AF14_LTDC;
  HAL_GPIO_Init(GPIOD, &GPIO_InitStruct);

  /*Configure GPIO pins : G3_Pin B4_Pin */
  GPIO_InitStruct.Pin = G3_Pin|B4_Pin;
  GPIO_InitStruct.Mode = GPIO_MODE_AF_PP;
  GPIO_InitStruct.Pull = GPIO_NOPULL;
  GPIO_InitStruct.Speed = GPIO_SPEED_FREQ_LOW;
  GPIO_InitStruct.Alternate = GPIO_AF9_LTDC;
  HAL_GPIO_Init(GPIOG, &GPIO_InitStruct);

  /*Configure GPIO pins : LD3_Pin LD4_Pin */
  GPIO_InitStruct.Pin = LD3_Pin|LD4_Pin;
  GPIO_InitStruct.Mode = GPIO_MODE_OUTPUT_PP;
  GPIO_InitStruct.Pull = GPIO_NOPULL;
  GPIO_InitStruct.Speed = GPIO_SPEED_FREQ_LOW;
  HAL_GPIO_Init(GPIOG, &GPIO_InitStruct);

  /*Configure GPIO pins : SDCKE1_Pin SDNE1_Pin */
  GPIO_InitStruct.Pin = SDCKE1_Pin|SDNE1_Pin;
  GPIO_InitStruct.Mode = GPIO_MODE_AF_PP;
  GPIO_InitStruct.Pull = GPIO_NOPULL;
  GPIO_InitStruct.Speed = GPIO_SPEED_FREQ_VERY_HIGH;
  GPIO_InitStruct.Alternate = GPIO_AF12_FMC;
  HAL_GPIO_Init(GPIOB, &GPIO_InitStruct);

}

void StartCommRxTask(void *argument)
{
  /* USER CODE BEGIN 5 */
    UartRxStream stream = {0};
    if (!uart_rx_start()) {
        osThreadExit();
        return;
    }
    for (;;) {
        UartRxByte item;
        if (uart_rx_wait(&item)) {
            if (uart_rx_stream_push(&stream, &item, &received_command)) {
                rx_complete = 1U;
                frame_validation_result = UART_FRAME_VALID;
                target_command_ready = 1U;
                ++received_frames;
                const TargetState target = {
                    received_command.target_x, received_command.target_y
                };
                queue_send_success = osMessageQueuePut(
                    targetCommandQueueHandle, &target, 0U, 0U) == osOK;
                if (!queue_send_success) ++dropped_targets;
            }
            rejected_windows = stream.frame.rejected_windows;
            uart_rx_gap_resets = stream.gap_resets;
        }
    }

  /* USER CODE END 5 */
}

void StartControlTask(void *argument)
{
  /* USER CODE BEGIN StartControlTask */

    TargetState target = {0};

    const SteeringControllerConfig controller_config = {
        .wheelbase_m = 2.8F,
        .deadband_deg = 1.0F,
        .steering_limit_deg = 30.0F,
        .target_timeout_ms = TARGET_TIMEOUT_MS
    };

    SteeringController controller = {0};

    if (!steering_controller_init(
            &controller,
            &controller_config))
    {
        controller_init_success = 0U;
        osThreadExit();
    }

    controller_init_success = 1U;

    /*
     * Provisional SG90 mapping.
     *
     * These pulse widths are bring-up fixtures only.
     * Final values will be replaced after physical calibration.
     */
    const Sg90MapperConfig sg90_config = {
        .steering_limit_deg = 30.0F,
        .period_us = SG90_PWM_PERIOD_US,
        .pulse_at_negative_limit_us =
            SG90_NEGATIVE_LIMIT_PULSE_US,
        .pulse_at_center_us =
            SG90_CENTER_PULSE_US,
        .pulse_at_positive_limit_us =
            SG90_POSITIVE_LIMIT_PULSE_US
    };

    Stm32PwmBackend pwm_backend = {0};

    if (!stm32_pwm_backend_init(
            &pwm_backend,
            &htim4,
            TIM_CHANNEL_2,
            TIM4_COUNTER_FREQUENCY_HZ,
            TIM4_MAX_PERIOD_COUNTS))
    {
        pwm_backend_init_success = 0U;
        osThreadExit();
    }

    pwm_backend_init_success = 1U;

    if (!stm32_pwm_backend_start(&pwm_backend))
    {
        pwm_backend_start_success = 0U;
        osThreadExit();
    }

    pwm_backend_start_success = 1U;

    CoreDebug->DEMCR |= CoreDebug_DEMCR_TRCENA_Msk;
    DWT->CYCCNT = 0U;
    DWT->CTRL |= DWT_CTRL_CYCCNTENA_Msk;
    probe_clock_hz = SystemCoreClock;
    probe_tick_hz = osKernelGetTickFreq();
    const uint32_t period_ticks = (uint32_t)(
        ((uint64_t)CONTROL_TASK_PERIOD_MS * probe_tick_hz) / 1000U);
    if (period_ticks == 0U) {
        osThreadExit();
        return;
    }
    uint32_t next_wake_tick = osKernelGetTickCount() + 1U;
    osDelayUntil(next_wake_tick);
    uint32_t expected_count = DWT->CYCCNT;
    const uint32_t period_counts = (uint32_t)(
        ((uint64_t)period_ticks * SystemCoreClock) / probe_tick_hz);

    for (;;)
    {
        const uint32_t started_count = DWT->CYCCNT;
        for (unsigned int drained = 0U; drained < 4U; ++drained) {
            if (osMessageQueueGet(
                   targetCommandQueueHandle,
                   &target,
                   NULL,
                   0U) != osOK) break;
            queue_received_target = target;
            queue_receive_success = 1U;

            const uint32_t target_update_ms = platform_now_ms();

            controller_target_update_success =
                steering_controller_update_target(
                    &controller,
                    &target,
                    target_update_ms)
                    ? 1U
                    : 0U;

            if (controller_target_update_success != 0U)
            {
                last_target_update_ms_debug = target_update_ms;
                ++accepted_targets;
            } else {
                ++invalid_targets;
            }
        }

        const uint32_t now_ms = platform_now_ms();

        controller_now_ms = now_ms;

        PwmCommand pwm_command = {0};
        const uint32_t common_started = DWT->CYCCNT;
        const float angle = steering_controller_step(
                &controller,
                now_ms);

        const bool mapped =
            sg90_mapper_map(
                &sg90_config,
                angle,
                &pwm_command);
        const uint32_t common_finished = DWT->CYCCNT;
        desired_steering_deg = angle;
        sg90_map_success = mapped ? 1U : 0U;
        ++controller_step_count;

        if (sg90_map_success != 0U)
        {
            pwm_period_us_debug =
                pwm_command.period_us;

            pwm_pulse_width_us_debug =
                pwm_command.pulse_width_us;

            /*
             * Hardware-independent PwmCommand
             *          ↓
             * STM32 hardware backend
             */
            pwm_apply_success =
                stm32_pwm_backend_apply(
                    &pwm_backend,
                    &pwm_command)
                    ? 1U
                    : 0U;

            if (pwm_apply_success != 0U)
            {
                pwm_ccr2_debug =
                    __HAL_TIM_GET_COMPARE(
                        &htim4,
                        TIM_CHANNEL_2);
            }
        }
        else
        {
            pwm_apply_success = 0U;
        }

        /*
         * Existing timeout verification instrumentation.
         */
        if (last_target_update_ms_debug != 0U)
        {
            const uint32_t elapsed_since_target_ms =
                now_ms - last_target_update_ms_debug;

            if ((elapsed_since_target_ms > 0U) &&
                (elapsed_since_target_ms <
                 TARGET_TIMEOUT_MS) &&
                (desired_steering_deg != 0.0F))
            {
                hold_before_timeout_seen = 1U;
            }

            if ((elapsed_since_target_ms >=
                 TARGET_TIMEOUT_MS) &&
                (desired_steering_deg == 0.0F))
            {
                timeout_neutral_seen = 1U;
            }
        }

        const uint32_t finished_count = DWT->CYCCNT;
        RuntimeSample sample = {0};
        sample.common_us = probe_elapsed_us(common_finished - common_started);
        sample.work_us = probe_elapsed_us(finished_count - started_count);
        sample.release_error_us = (int32_t)(
            ((int64_t)(int32_t)(started_count - expected_count) * 1000000LL) /
            SystemCoreClock);
        sample.steering_mdeg = (int32_t)(angle * 1000.0f);
        sample.pulse_us = pwm_command.pulse_width_us;
        sample.target_x_cm = controller.last_target.x_cm;
        sample.target_y_cm = controller.last_target.y_cm;
        runtime_probe_record(&runtime_probe, sample, CONTROL_TASK_PERIOD_MS * 1000U);
        runtime_probe_busy(&runtime_probe,
            probe_elapsed_us(DWT->CYCCNT - started_count),
            LATC_CONTROL_BUSY_BUDGET_US);
        const uint32_t advances = runtime_next_release(
            next_wake_tick, osKernelGetTickCount(), period_ticks, &next_wake_tick);
        runtime_probe.skipped_releases += advances - 1U;
        expected_count += advances * period_counts;
        osDelayUntil(next_wake_tick);
    }

  /* USER CODE END StartControlTask */
}

void HAL_TIM_PeriodElapsedCallback(TIM_HandleTypeDef *htim)
{
  if (htim->Instance == TIM6)
  {
    HAL_IncTick();
  }
}

void Error_Handler(void)
{
  __disable_irq();
  while (1)
  {
  }
}
